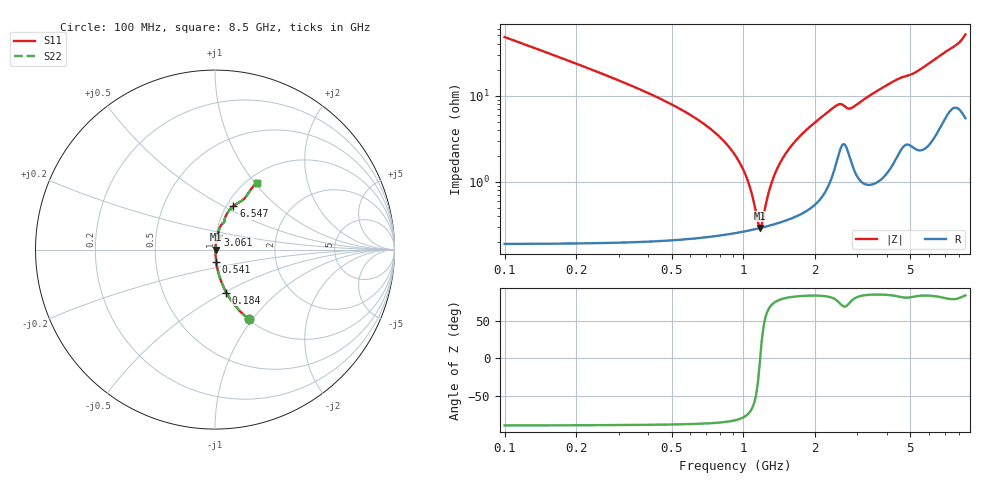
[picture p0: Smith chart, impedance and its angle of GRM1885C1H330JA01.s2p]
!Murata Part Number: GRM1885C1H330JA01
!These Parameters are Measured in Series Mode Connection
!Data Generated on Mar 30, 2021
!  o--ll--o
!Port1  Port2
!  o------o
!Operation Temp=25[degC], DC Bias Voltage=0[V]
!Freq. Start=100[MHz] Stop=9[GHz] 401[Steps]
# Hz S RI R 50
!Freq.(Hz) S11(Real) S11(Imag) S21(Real) S21(Imag) S12(Real) S12(Imag) S22(Real) S22(Imag)
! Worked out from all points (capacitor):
!   401 points, 100 MHz to 8.5 GHz, reference 50 ohm
!   read as one part in series: C = 33 pF near 142 MHz
!   lowest |Z| = 291 mohm at 1.171 GHz (marker M1)
!   series resonance near 1.175 GHz, so ESL is about 560 pH
!   S11 on the Smith chart (normalised r, x): 100 MHz: 1.00, -0.96; 184 MHz: 1.00, -0.51; 541 MHz: 1.00, -0.14; 3.061 GHz: 1.02, +0.16; 6.547 GHz: 1.08, +0.56; 8.5 GHz: 1.11, +1.02
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1e8  0.1875 -0.3883  0.8125 0.3883  0.8125 0.3883  0.1875 -0.3883
1.84e8  0.063 -0.2392  0.937 0.2392  0.937 0.2392  0.063 -0.2392
3.31e8  0.0196 -0.1314  0.9804 0.1314  0.9804 0.1314  0.0196 -0.1314
5.41e8  0.00702 -0.0698  0.993 0.0698  0.993 0.0698  0.00702 -0.0698
7.93e8  0.00346 -0.0331  0.9965 0.0331  0.9965 0.0331  0.00346 -0.0331
9.4e8  0.00289 -0.0185  0.9971 0.0185  0.9971 0.0185  0.00289 -0.0185
1.024e9  0.00279 -0.0114  0.9972 0.0114  0.9972 0.0114  0.00279 -0.0114
1.129e9  0.00283 -0.00331  0.9972 0.00331  0.9972 0.00331  0.00283 -0.00331
1.171e9  0.00289 -0.000295  0.9971 0.000295  0.9971 0.000295  0.00289 -0.000295
1.213e9  0.00296 0.00262  0.997 -0.00262  0.997 -0.00262  0.00296 0.00262
1.339e9  0.0033 0.0109  0.9967 -0.0109  0.9967 -0.0109  0.0033 0.0109
1.507e9  0.00398 0.021  0.996 -0.021  0.996 -0.021  0.00398 0.021
1.822e9  0.00599 0.0386  0.994 -0.0386  0.994 -0.0386  0.00599 0.0386
2.347e9  0.0158 0.0676  0.9842 -0.0676  0.9842 -0.0676  0.0158 0.0676
2.515e9  0.0264 0.0729  0.9736 -0.0729  0.9736 -0.0729  0.0264 0.0729
2.914e9  0.0185 0.0717  0.9815 -0.0717  0.9815 -0.0717  0.0185 0.0717
3.061e9  0.017 0.0802  0.983 -0.0802  0.983 -0.0802  0.017 0.0802
4.3e9  0.0374 0.1402  0.9626 -0.1402  0.9626 -0.1402  0.0374 0.1402
5.707e9  0.0644 0.1961  0.9356 -0.1961  0.9356 -0.1961  0.0644 0.1961
6.547e9  0.1024 0.2416  0.8976 -0.2416  0.8976 -0.2416  0.1024 0.2416
7.114e9  0.137 0.2652  0.863 -0.2652  0.863 -0.2652  0.137 0.2652
8.5e9  0.2315 0.3716  0.7685 -0.3716  0.7685 -0.3716  0.2315 0.3716
